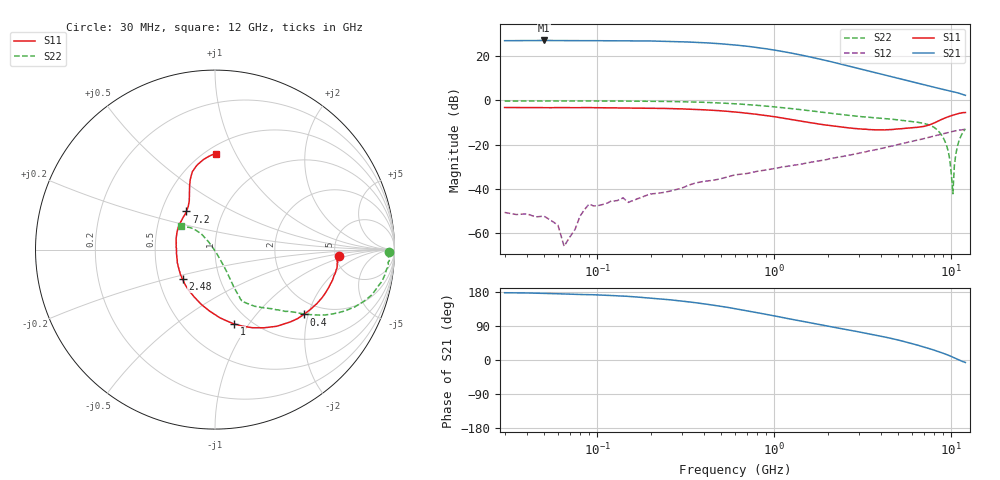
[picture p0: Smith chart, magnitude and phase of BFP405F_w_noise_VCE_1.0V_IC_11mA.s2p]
! Infineon Technologies  Discrete & RF Semiconductors
! BFP405F
! VCE =  1.0 V,  IC =  11 mA
! Common Emitter S-Parameters:  Nov 2015
# GHz  S  MA  R  50
!  f  S11  S21  S12  S22
! GHz  MAG  ANG  MAG  ANG  MAG  ANG  MAG  ANG
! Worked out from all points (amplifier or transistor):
!   239 points, 30 MHz to 12 GHz, reference 50 ohm
!   highest |S21| = 27.2 dB at 50 MHz (marker M1)
!   |S21| within 3 dB of that: start of sweep to 765.5 MHz
!   unconditionally stable (mu >= 1): 64.1 MHz to 66.24 MHz; 1.978 GHz to end of sweep
!   at 300 MHz: K = 0.23, MSG = 33.2 dB, |S12| = -39.7 dB
!   at 1.88 GHz: K = 0.98, MSG = 22.8 dB, |S12| = -27.1 dB
!   at 12 GHz: K = 1.40, MAG = 3.9 dB, |S12| = -13.0 dB
!   lowest NFmin = 1.74 dB at 450 MHz
!   S11 on the Smith chart (normalised r, x): 30 MHz: 5.39, -0.70; 400 MHz: 1.62, -1.88; 1 GHz: 0.84, -0.85; 2.48 GHz: 0.66, -0.23; 7.2 GHz: 0.67, +0.31; 12 GHz: 0.56, +0.84
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0.03  0.6914 -2.8  22.54 177.5  0.0029 51.0  0.969 -0.8
0.05  0.6823 -5.3  22.82 175.6  0.0024 46.0  0.9705 -1.7
0.06  0.6878 -5.8  22.64 174.9  0.0015 78.8  0.968 -2.1
0.065  0.686 -6.1  22.64 174.3  0.0005 106.8  0.9679 -2.3
0.085  0.6868 -8.1  22.57 172.7  0.0034 113.4  0.9726 -3.4
0.145  0.6771 -13.9  22.44 168.3  0.0055 82.5  0.9655 -6.1
0.24  0.6584 -22.5  21.8 160.3  0.0083 79.1  0.9493 -10.2
0.3  0.6432 -27.7  21.33 155.5  0.0103 79.2  0.932 -12.6
0.4  0.613 -36.1  20.3 148.2  0.0147 75.7  0.9072 -16.3
0.6  0.5482 -51.2  18 135.4  0.0206 72.2  0.8406 -22.4
0.8  0.4832 -64.3  15.77 124.9  0.0248 67.1  0.7744 -27.0
1  0.4278 -75.6  13.82 116.3  0.0285 65.2  0.7151 -30.6
1.3  0.3589 -90.8  11.43 105.9  0.0343 64.0  0.6409 -34.4
1.64  0.3088 -105.8  9.417 97.2  0.0403 62.9  0.5763 -37.6
2.48  0.2449 -137.6  6.375 81.3  0.0549 61.2  0.4713 -45.0
4.5  0.2186 172.5  3.495 57.8  0.0909 55.4  0.379 -55.7
7.2  0.2655 126.8  2.193 32.5  0.1407 44.3  0.2917 -62.8
9.4  0.4141 109.4  1.706 14.3  0.1835 32.8  0.0948 -62.0
9.8  0.4397 107.2  1.643 11.0  0.1914 30.5  0.0456 -63.4
10.2  0.4632 104.5  1.583 7.5  0.1991 28.0  0.0077 155.5
10.6  0.4853 101.2  1.524 4.0  0.206 25.3  0.061 129.7
12  0.5326 89.4  1.305 -6.5  0.223 18.0  0.2282 145.6
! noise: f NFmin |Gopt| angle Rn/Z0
0.45  1.74  0.18  5  0.33
0.9  1.75  0.17  8  0.34
1.5  1.81  0.15  13  0.24
1.9  1.84  0.13  20  0.28
2.4  1.98  0.12  27  0.33
3  2.05  0.1  39  0.35
3.5  2.11  0.07  44  0.43
4.5  2.28  0.06  40  0.2
5.5  2.5  0.03  17  0.06
